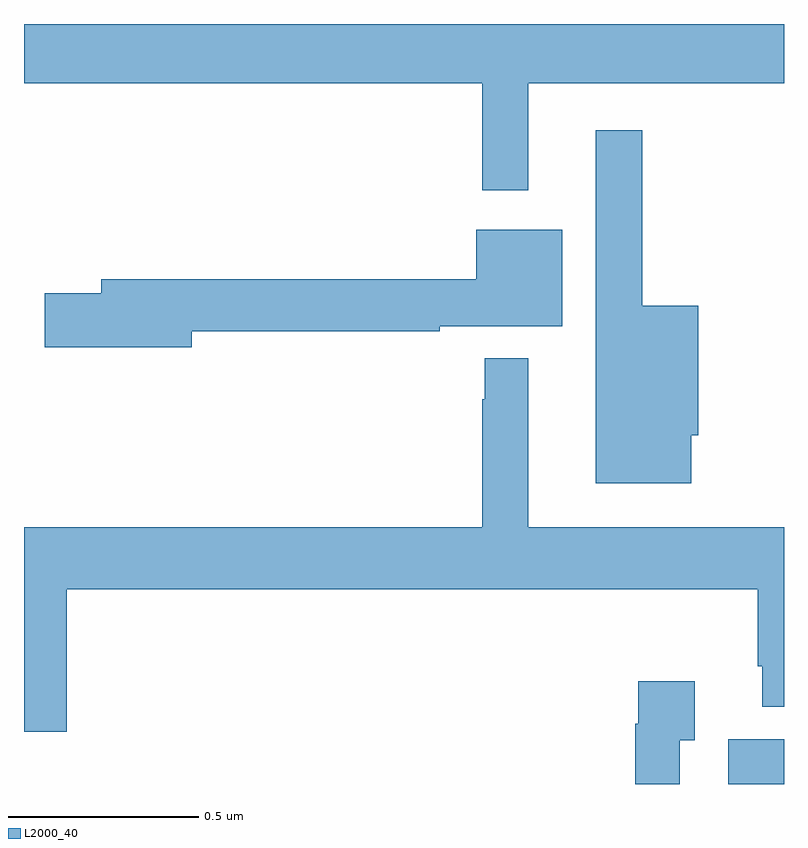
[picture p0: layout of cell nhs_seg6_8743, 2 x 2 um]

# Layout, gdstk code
import gdstk
lib = gdstk.Library(unit=1e-6, precision=1e-09)
def R(c, l, rs):  # rectangles x0, y0, x1, y1
    for r in rs: c.add(gdstk.rectangle(r[:2], r[2:], *l))
def P(c, l, *ps):  # polygons
    for p in ps: c.add(gdstk.Polygon(p, *l))
L2000_40 = (2000, 40)

nhs_seg6_8743 = lib.new_cell('nhs_seg6_8743')
R(nhs_seg6_8743, L2000_40, [(226.853,937.5,227,937.618)])
P(nhs_seg6_8743, L2000_40, [(226.327,939.344),(227,939.344),(227,939.5),(225,939.5),(225,939.344),(226.206,939.344),(226.206,939.063),(226.327,939.063)],
  [(226.756,938.418),(226.774,938.418),(226.774,938.758),(226.627,938.758),(226.627,939.22),(226.505,939.22),(226.505,938.291),(226.756,938.291)],
  [(225.442,938.692),(226.094,938.692),(226.094,938.705),(226.417,938.705),(226.417,938.959),(226.19,938.959),(226.19,938.828),(225.203,938.828),(225.203,938.792),(225.054,938.792),(225.054,938.65),(225.442,938.65)],
  [(225.112,938.012),(226.931,938.012),(226.931,937.81),(226.943,937.81),(226.943,937.703),(227,937.703),(227,938.176),(226.327,938.176),(226.327,938.62),(226.212,938.62),(226.212,938.513),(226.206,938.513),(226.206,938.176),(225,938.176),(225,937.638),(225.112,937.638)],
  [(226.725,937.615),(226.765,937.615),(226.765,937.771),(226.617,937.771),(226.617,937.658),(226.609,937.658),(226.609,937.5),(226.725,937.5)])

lib.write_gds('nhs_seg6_8743.gds')
